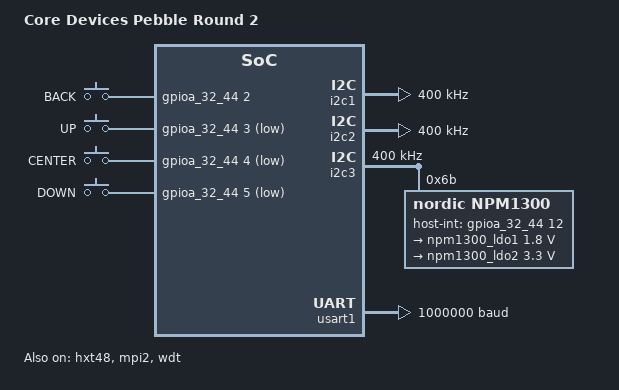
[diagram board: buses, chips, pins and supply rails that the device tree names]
/*
 * Copyright (c) 2026 Core Devices LLC
 * SPDX-License-Identifier: Apache-2.0
 */

/dts-v1/;

#include <sifli/sf32lb52x.dtsi>
#include <sifli/sf32lb52x-ram012.dtsi>
#include <zephyr/dt-bindings/dma/sf32lb52x-dma.h>
#include <zephyr/dt-bindings/gpio/gpio.h>
#include <zephyr/dt-bindings/i2c/i2c.h>
#include <zephyr/dt-bindings/input/input-event-codes.h>
#include <zephyr/dt-bindings/regulator/npm13xx.h>

#include "pr2-pinctrl.dtsi"

/ {
	compatible = "coredevices,pr2";
	model = "Core Devices Pebble Round 2";

	chosen {
		zephyr,flash = &gd25q256e;
		zephyr,flash-controller = &mpi2;
		zephyr,code-partition = &code;
		zephyr,console = &usart1;
		zephyr,shell-uart = &usart1;
	};

	buttons {
		compatible = "gpio-keys";

		btn_back: button-back {
			label = "BACK";
			gpios = <&gpioa_32_44 2 GPIO_ACTIVE_HIGH>;
			zephyr,code = <INPUT_KEY_BACK>;
		};

		btn_up: button-up {
			label = "UP";
			gpios = <&gpioa_32_44 3 (GPIO_ACTIVE_LOW | GPIO_PULL_UP)>;
			zephyr,code = <INPUT_KEY_UP>;
		};

		btn_center: button-center {
			label = "CENTER";
			gpios = <&gpioa_32_44 4 (GPIO_ACTIVE_LOW | GPIO_PULL_UP)>;
			zephyr,code = <INPUT_KEY_ENTER>;
		};

		btn_down: button-down {
			label = "DOWN";
			gpios = <&gpioa_32_44 5 (GPIO_ACTIVE_LOW | GPIO_PULL_UP)>;
			zephyr,code = <INPUT_KEY_DOWN>;
		};
	};

	aliases {
		sw0 = &btn_back;
		sw1 = &btn_up;
		watchdog0 = &wdt;
	};
};

&cpu0 {
	clock-frequency = <DT_FREQ_M(240)>;
};

&dmac {
	status = "okay";
};

&gpioa_00_31 {
	status = "okay";
};

&gpioa_32_44 {
	status = "okay";
};

&hxt48 {
	status = "okay";
};

&i2c1 {
	pinctrl-0 = <&i2c1_default>;
	pinctrl-names = "default";
	clock-frequency = <I2C_BITRATE_FAST>;
	status = "okay";
};

&i2c2 {
	pinctrl-0 = <&i2c2_default>;
	pinctrl-names = "default";
	clock-frequency = <I2C_BITRATE_FAST>;
	status = "okay";
};

&i2c3 {
	pinctrl-0 = <&i2c3_default>;
	pinctrl-names = "default";
	clock-frequency = <I2C_BITRATE_FAST>;
	status = "okay";

	npm1300: pmic@6b {
		compatible = "nordic,npm1300";
		reg = <0x6b>;
		pmic-int-pin = <1>;
		host-int-gpios = <&gpioa_32_44 12 GPIO_ACTIVE_HIGH>;

		npm1300_charger: charger {
			compatible = "nordic,npm1300-charger";
			term-microvolt = <4450000>;
			term-warm-microvolt = <4000000>;
			current-microamp = <14000>;
			dischg-limit-microamp = <200000>;
			vbus-limit-microamp = <500000>;
			thermistor-ohms = <10000>;
			thermistor-beta = <3380>;
			charging-enable;
			vbatlow-charge-enable;
		};

		npm1300_gpio: gpio-controller {
			compatible = "nordic,npm1300-gpio";
			gpio-controller;
			#gpio-cells = <2>;
			ngpios = <5>;
		};

		regulators {
			compatible = "nordic,npm1300-regulator";

			npm1300_ldo1: LDO1 {
				regulator-allowed-modes = <NPM13XX_LDSW_MODE_LDO>;
				regulator-initial-mode = <NPM13XX_LDSW_MODE_LDO>;
				regulator-min-microvolt = <1800000>;
				regulator-max-microvolt = <1800000>;
			};

			npm1300_ldo2: LDO2 {
				regulator-allowed-modes = <NPM13XX_LDSW_MODE_LDSW>;
				regulator-initial-mode = <NPM13XX_LDSW_MODE_LDSW>;
				regulator-min-microvolt = <3300000>;
				regulator-max-microvolt = <3300000>;
			};
		};
	};
};

&mpi2 {
	compatible = "sifli,sf32lb-mpi-qspi-nor";
	dmas = <&dmac 0 SF32LB52X_DMA_REQ_MPI2 SF32LB_DMA_PL_MEDIUM>;
	sifli,lines = <4>;
	sifli,psclr = <0>;
	status = "okay";

	gd25q256e: flash@0 {
		compatible = "gd,gd25q256e", "jedec,qspi-nor";
		reg = <0x0>;
		size = <DT_SIZE_M(256)>;
		quad-enable-requirements = "S2B1v6";
		#address-cells = <1>;
		#size-cells = <1>;

		gd25q256e_flash: gd25q256e@12000000 {
			compatible = "soc-nv-flash";
			reg = <0x12000000 DT_SIZE_M(32)>;
			ranges = <0x0 0x12000000 DT_SIZE_M(32)>;
			#address-cells = <1>;
			#size-cells = <1>;

			partitions {
				ranges;
				#address-cells = <1>;
				#size-cells = <1>;

				ptable: partition@0 {
					compatible = "zephyr,mapped-partition";
					reg = <0x0 DT_SIZE_K(64)>;
					label = "ptable";
				};

				code: partition@10000 {
					compatible = "zephyr,mapped-partition";
					reg = <0x10000 DT_SIZE_K(32704)>;
					label = "code";
				};
			};
		};
	};
};

&pinctrl {
	status = "okay";
};

&rcc_clk {

	sifli,hdiv = <1>;
	sifli,pdiv1 = <1>;
	sifli,pdiv2 = <6>;
	status = "okay";

	dll1 {
		clock-frequency = <DT_FREQ_M(240)>;
		status = "okay";
	};
};

&usart1 {
	current-speed = <1000000>;
	pinctrl-0 = <&usart1_default>;
	pinctrl-names = "default";
	status = "okay";
};

&wdt {
	status = "okay";
};
